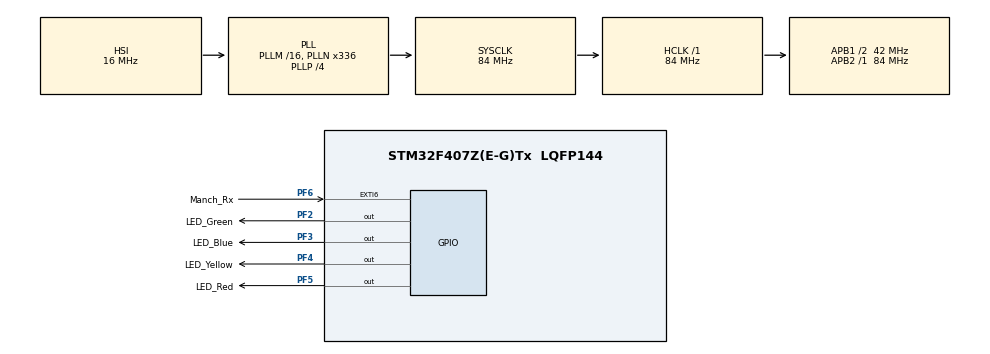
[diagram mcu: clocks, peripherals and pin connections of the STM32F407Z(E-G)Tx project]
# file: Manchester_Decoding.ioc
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Mcu.Family=STM32F4
Mcu.Name=STM32F407Z(E-G)Tx
Mcu.Package=LQFP144
NVIC.EXTI9_5_IRQn=true\:1\:0\:true\:false\:true\:true
NVIC.PriorityGroup=NVIC_PRIORITYGROUP_4
NVIC.TIM2_IRQn=true\:1\:0\:true\:false\:true\:true
PF2.GPIO_Label=LED_Green
PF2.GPIO_PuPd=GPIO_PULLDOWN
PF2.Signal=GPIO_Output
PF3.GPIO_Label=LED_Blue
PF3.GPIO_PuPd=GPIO_PULLDOWN
PF3.Signal=GPIO_Output
PF4.GPIO_Label=LED_Yellow
PF4.GPIO_PuPd=GPIO_PULLDOWN
PF4.Signal=GPIO_Output
PF5.GPIO_Label=LED_Red
PF5.GPIO_PuPd=GPIO_PULLDOWN
PF5.Signal=GPIO_Output
PF6.GPIO_Label=Manch_Rx
PF6.GPIO_PuPd=GPIO_PULLDOWN
PF6.Signal=GPXTI6
ProjectManager.HeapSize=0x200
ProjectManager.StackSize=0x400
ProjectManager.TargetToolchain=Makefile
RCC.48MHZClocksFreq_Value=84000000
RCC.AHBFreq_Value=84000000
RCC.APB1CLKDivider=RCC_HCLK_DIV2
RCC.APB1Freq_Value=42000000
RCC.APB1TimFreq_Value=84000000
RCC.APB2Freq_Value=84000000
RCC.APB2TimFreq_Value=84000000
RCC.CortexFreq_Value=84000000
RCC.HCLKFreq_Value=84000000
RCC.HSE_VALUE=25000000
RCC.HSI_VALUE=16000000
RCC.LSE_VALUE=32768
RCC.PLLN=336
RCC.PLLP=RCC_PLLP_DIV4
RCC.SYSCLKFreq_VALUE=84000000
RCC.SYSCLKSource=RCC_SYSCLKSOURCE_PLLCLK
RCC.VCOOutputFreq_Value=336000000
TIM2.Period=104
TIM2.Prescaler=83
VP_TIM2_VS_ClockSourceINT.Mode=Internal
board=Manchester_Decoding

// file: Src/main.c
/**
  ******************************************************************************
  * File Name          : main.c
  * Description        : Main program body
  ******************************************************************************
  ** This notice applies to any and all portions of this file
  * that are not between comment pairs USER CODE BEGIN and
  * USER CODE END. Other portions of this file, whether
  * inserted by the user or by software development tools
  * are owned by their respective copyright owners.
  *
  * COPYRIGHT(c) 2017 STMicroelectronics
  *
  * Redistribution and use in source and binary forms, with or without modification,
  * are permitted provided that the following conditions are met:
  *   1. Redistributions of source code must retain the above copyright notice,
  *      this list of conditions and the following disclaimer.
  *   2. Redistributions in binary form must reproduce the above copyright notice,
  *      this list of conditions and the following disclaimer in the documentation
  *      and/or other materials provided with the distribution.
  *   3. Neither the name of STMicroelectronics nor the names of its contributors
  *      may be used to endorse or promote products derived from this software
  *      without specific prior written permission.
  *
  * THIS SOFTWARE IS PROVIDED BY THE COPYRIGHT HOLDERS AND CONTRIBUTORS "AS IS"
  * AND ANY EXPRESS OR IMPLIED WARRANTIES, INCLUDING, BUT NOT LIMITED TO, THE
  * IMPLIED WARRANTIES OF MERCHANTABILITY AND FITNESS FOR A PARTICULAR PURPOSE ARE
  * DISCLAIMED. IN NO EVENT SHALL THE COPYRIGHT HOLDER OR CONTRIBUTORS BE LIABLE
  * FOR ANY DIRECT, INDIRECT, INCIDENTAL, SPECIAL, EXEMPLARY, OR CONSEQUENTIAL
  * DAMAGES (INCLUDING, BUT NOT LIMITED TO, PROCUREMENT OF SUBSTITUTE GOODS OR
  * SERVICES; LOSS OF USE, DATA, OR PROFITS; OR BUSINESS INTERRUPTION) HOWEVER
  * CAUSED AND ON ANY THEORY OF LIABILITY, WHETHER IN CONTRACT, STRICT LIABILITY,
  * OR TORT (INCLUDING NEGLIGENCE OR OTHERWISE) ARISING IN ANY WAY OUT OF THE USE
  * OF THIS SOFTWARE, EVEN IF ADVISED OF THE POSSIBILITY OF SUCH DAMAGE.
  *
  ******************************************************************************
  */

#include "main.h"
#include "stm32f4xx_hal.h"

TIM_HandleTypeDef htim2;

/* USER CODE BEGIN PV */

/* Private variables ---------------------------------------------------------*/

/* start_timer variable designates first external interrupt */
unsigned char start_timer = 0;
/* this variable used to measure the ticks of timer2 */
int tick_count = 0;
/* array initialization for receive buffer */
volatile unsigned char dali_slave_array_receive_buffer[9];
/* bit_count variable used in dali_decoding */
unsigned char bit_count = 0;
/*Address and Command byte received variables */
volatile unsigned char slave_addr_byte_received;
volatile unsigned char slave_cmd_byte_received;

/* USER CODE END PV */

void SystemClock_Config(void);
static void MX_GPIO_Init(void);
static void MX_TIM2_Init(void);

/* USER CODE BEGIN PFP */
/* Private function prototypes -----------------------------------------------*/
void Forward_Frame_Received(void);
/* USER CODE END PFP */

int main(void)
{

  /* MCU Configuration----------------------------------------------------------*/

  /* Reset of all peripherals, Initializes the Flash interface and the Systick. */
  HAL_Init();

  /* Configure the system clock */
  SystemClock_Config();

  /* Initialize all configured peripherals */
  MX_GPIO_Init();
  MX_TIM2_Init();

  /* USER CODE BEGIN 2 */

  /* Wait for the first external interrupt */

  while(start_timer == 0)
    {
    }

  /* Start the timer time base in interrupt mode */
  if(HAL_TIM_Base_Start_IT(&htim2) != HAL_OK)
    {
      _Error_Handler(__FILE__, __LINE__);
    }
  /* USER CODE END 2 */

  /* Infinite loop */
  while (1)
  {

  }

}

/** System Clock Configuration
*/
void SystemClock_Config(void)
{

  RCC_OscInitTypeDef RCC_OscInitStruct;
  RCC_ClkInitTypeDef RCC_ClkInitStruct;

    /**Configure the main internal regulator output voltage
    */
  __HAL_RCC_PWR_CLK_ENABLE();

  __HAL_PWR_VOLTAGESCALING_CONFIG(PWR_REGULATOR_VOLTAGE_SCALE1);

    /**Initializes the CPU, AHB and APB busses clocks
    */
  RCC_OscInitStruct.OscillatorType = RCC_OSCILLATORTYPE_HSI;
  RCC_OscInitStruct.HSIState = RCC_HSI_ON;
  RCC_OscInitStruct.HSICalibrationValue = 16;
  RCC_OscInitStruct.PLL.PLLState = RCC_PLL_ON;
  RCC_OscInitStruct.PLL.PLLSource = RCC_PLLSOURCE_HSI;
  RCC_OscInitStruct.PLL.PLLM = 16;
  RCC_OscInitStruct.PLL.PLLN = 336;
  RCC_OscInitStruct.PLL.PLLP = RCC_PLLP_DIV4;
  RCC_OscInitStruct.PLL.PLLQ = 4;
  if (HAL_RCC_OscConfig(&RCC_OscInitStruct) != HAL_OK)
  {
    _Error_Handler(__FILE__, __LINE__);
  }

    /**Initializes the CPU, AHB and APB busses clocks
    */
  RCC_ClkInitStruct.ClockType = RCC_CLOCKTYPE_HCLK|RCC_CLOCKTYPE_SYSCLK
                              |RCC_CLOCKTYPE_PCLK1|RCC_CLOCKTYPE_PCLK2;
  RCC_ClkInitStruct.SYSCLKSource = RCC_SYSCLKSOURCE_PLLCLK;
  RCC_ClkInitStruct.AHBCLKDivider = RCC_SYSCLK_DIV1;
  RCC_ClkInitStruct.APB1CLKDivider = RCC_HCLK_DIV2;
  RCC_ClkInitStruct.APB2CLKDivider = RCC_HCLK_DIV1;

  if (HAL_RCC_ClockConfig(&RCC_ClkInitStruct, FLASH_LATENCY_2) != HAL_OK)
  {
    _Error_Handler(__FILE__, __LINE__);
  }

    /**Configure the Systick interrupt time
    */
  HAL_SYSTICK_Config(HAL_RCC_GetHCLKFreq()/1000);

    /**Configure the Systick
    */
  HAL_SYSTICK_CLKSourceConfig(SYSTICK_CLKSOURCE_HCLK);

  /* SysTick_IRQn interrupt configuration */
  HAL_NVIC_SetPriority(SysTick_IRQn, 0, 0);
}

/* TIM2 init function */
static void MX_TIM2_Init(void)
{

  TIM_ClockConfigTypeDef sClockSourceConfig;
  TIM_MasterConfigTypeDef sMasterConfig;

  htim2.Instance = TIM2;
  htim2.Init.Prescaler = 83;
  htim2.Init.CounterMode = TIM_COUNTERMODE_UP;
  htim2.Init.Period = 103;
  htim2.Init.ClockDivision = TIM_CLOCKDIVISION_DIV1;
  if (HAL_TIM_Base_Init(&htim2) != HAL_OK)
  {
    _Error_Handler(__FILE__, __LINE__);
  }

  sClockSourceConfig.ClockSource = TIM_CLOCKSOURCE_INTERNAL;
  if (HAL_TIM_ConfigClockSource(&htim2, &sClockSourceConfig) != HAL_OK)
  {
    _Error_Handler(__FILE__, __LINE__);
  }

  sMasterConfig.MasterOutputTrigger = TIM_TRGO_RESET;
  sMasterConfig.MasterSlaveMode = TIM_MASTERSLAVEMODE_DISABLE;
  if (HAL_TIMEx_MasterConfigSynchronization(&htim2, &sMasterConfig) != HAL_OK)
  {
    _Error_Handler(__FILE__, __LINE__);
  }

}

/** Configure pins as
        * Analog
        * Input
        * Output
        * EVENT_OUT
        * EXTI
*/
static void MX_GPIO_Init(void)
{

  GPIO_InitTypeDef GPIO_InitStruct;

  /* GPIO Ports Clock Enable */
  __HAL_RCC_GPIOF_CLK_ENABLE();

  /*Configure GPIO pin Output Level */
  HAL_GPIO_WritePin(GPIOF, LED_Green_Pin|LED_Blue_Pin|LED_Yellow_Pin|LED_Red_Pin, GPIO_PIN_RESET);

  /*Configure GPIO pins : LED_Green_Pin LED_Blue_Pin LED_Yellow_Pin LED_Red_Pin */
  GPIO_InitStruct.Pin = LED_Green_Pin|LED_Blue_Pin|LED_Yellow_Pin|LED_Red_Pin;
  GPIO_InitStruct.Mode = GPIO_MODE_OUTPUT_PP;
  GPIO_InitStruct.Pull = GPIO_PULLDOWN;
  GPIO_InitStruct.Speed = GPIO_SPEED_FREQ_LOW;
  HAL_GPIO_Init(GPIOF, &GPIO_InitStruct);

  /*Configure GPIO pin : Manch_Rx_Pin */
  GPIO_InitStruct.Pin = Manch_Rx_Pin;
  GPIO_InitStruct.Mode = GPIO_MODE_IT_RISING;
  GPIO_InitStruct.Pull = GPIO_PULLDOWN;
  HAL_GPIO_Init(Manch_Rx_GPIO_Port, &GPIO_InitStruct);

  /* EXTI interrupt init*/
  HAL_NVIC_SetPriority(EXTI9_5_IRQn, 1, 0);
  HAL_NVIC_EnableIRQ(EXTI9_5_IRQn);

}

/* USER CODE BEGIN 4 */
void HAL_TIM_PeriodElapsedCallback(TIM_HandleTypeDef *htim)
{

  /* Wait for the settling time to be over */
  if(tick_count >= 41)
    {
      if(tick_count == bit_count * 8 + 42)
	{
	  if(HAL_GPIO_ReadPin(Manch_Rx_GPIO_Port, Manch_Rx_Pin) == GPIO_PIN_SET)
	    {
	      dali_slave_array_receive_buffer[bit_count] = 0;
	    }
	  else if(HAL_GPIO_ReadPin(Manch_Rx_GPIO_Port, Manch_Rx_Pin) == GPIO_PIN_RESET)
	    {
	      dali_slave_array_receive_buffer[bit_count] = 1;
	    }
	}

      if(tick_count % 8  == 0)
      	{
      	  bit_count++;
      	}

      // transfer completed
      if(bit_count > 8)
      	{
      	  if(HAL_TIM_Base_Stop_IT(&htim2) != HAL_OK)
      	    {
      	      _Error_Handler(__FILE__, __LINE__);
      	    }
          Forward_Frame_Received();
      	}

    }

  // increment ticks
  tick_count++;

}

void Forward_Frame_Received(void)
{
  unsigned char i = 0;
  for (i = 1; i<9; i++)
    {
      if(dali_slave_array_receive_buffer[i] == 1)
	{
	  slave_addr_byte_received |= (1 << (8-i));
	}
    }

  if(slave_addr_byte_received == 0xD4)
    {
      HAL_GPIO_WritePin(LED_Green_GPIO_Port, LED_Green_Pin, GPIO_PIN_SET);
    }
  else
    {
      HAL_GPIO_WritePin(LED_Red_GPIO_Port, LED_Red_Pin, GPIO_PIN_SET);
    }

}
/* USER CODE END 4 */

void _Error_Handler(char * file, int line)
{
  /* USER CODE BEGIN Error_Handler_Debug */

  /* Turn LED_Yellow ON */
  HAL_GPIO_WritePin(LED_Yellow_GPIO_Port, LED_Yellow_Pin, GPIO_PIN_SET);

  /* User can add his own implementation to report the HAL error return state */
  while(1)
  {
  }
  /* USER CODE END Error_Handler_Debug */
}

/************************ (C) COPYRIGHT STMicroelectronics *****END OF FILE****/
